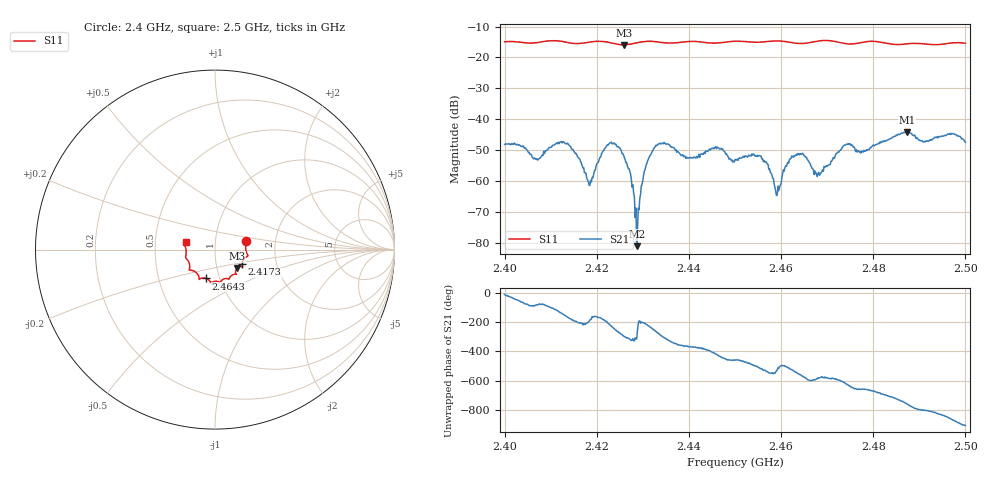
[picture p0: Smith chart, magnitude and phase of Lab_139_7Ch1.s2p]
# Hz S RI R 50
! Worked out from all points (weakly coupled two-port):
!   601 points, 2.4 GHz to 2.5 GHz, reference 50 ohm
!   highest |S21| = -44.08 dB at 2.4873 GHz (marker M1); lowest = -81.1 dB at 2.4287 GHz (marker M2)
!   lowest |S11| = -15.9 dB at 2.4258 GHz (marker M3), VSWR 1.38, Z = 62.3 - j13.3 ohm
!   |S11| at or under -10 dB: start of sweep to end of sweep
!   S12 and S22 are empty: the file has one direction only
!   S11 on the Smith chart (normalised r, x): 2.4 GHz: 1.41, +0.14; 2.4173 GHz: 1.34, -0.22; 2.4643 GHz: 0.86, -0.28; 2.5 GHz: 0.72, +0.06
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2.4e9  0.1728 0.0487  0.00381 -0.000891  0 0  0 0
2.407167e9  0.1743 -0.0121  0.000214 -0.00218  0 0  0 0
2.4125e9  0.1773 -0.0392  -0.00334 -0.00245  0 0  0 0
2.416667e9  0.1525 -0.0741  -0.00169 0.00096  0 0  0 0
2.417333e9  0.1518 -0.0816  -0.00114 0.000752  0 0  0 0
2.418667e9  0.1527 -0.093  -0.00102 7.49e-05  0 0  0 0
2.422833e9  0.1468 -0.0942  -0.00319 0.00262  0 0  0 0
2.425833e9  0.1218 -0.1037  0.00113 0.00234  0 0  0 0
2.4275e9  0.1152 -0.1189  0.000906 0.000586  0 0  0 0
2.428667e9  0.1149 -0.129  6.33e-05 6.19e-05  0 0  0 0
2.430667e9  0.1186 -0.1382  -0.00145 0.001  0 0  0 0
2.433333e9  0.113 -0.1373  0.000378 0.00395  0 0  0 0
2.45e9  0.0292 -0.181  -0.000479 -0.00218  0 0  0 0
2.4555e9  -0.00246 -0.1771  -0.00235 -0.000937  0 0  0 0
2.459167e9  -0.0228 -0.184  -0.000587 -0.000114  0 0  0 0
2.461833e9  -0.0296 -0.1739  -0.0021 -0.000805  0 0  0 0
2.464333e9  -0.0498 -0.1605  -0.00252 0.00104  0 0  0 0
2.466667e9  -0.0759 -0.1593  -0.000848 0.00139  0 0  0 0
2.474167e9  -0.0986 -0.1344  -0.000457 0.00391  0 0  0 0
2.483333e9  -0.1408 -0.09  0.00456 0.00106  0 0  0 0
2.487333e9  -0.1574 -0.0539  0.00478 -0.00403  0 0  0 0
2.5e9  -0.1639 0.0429  -0.00422 0.000511  0 0  0 0
